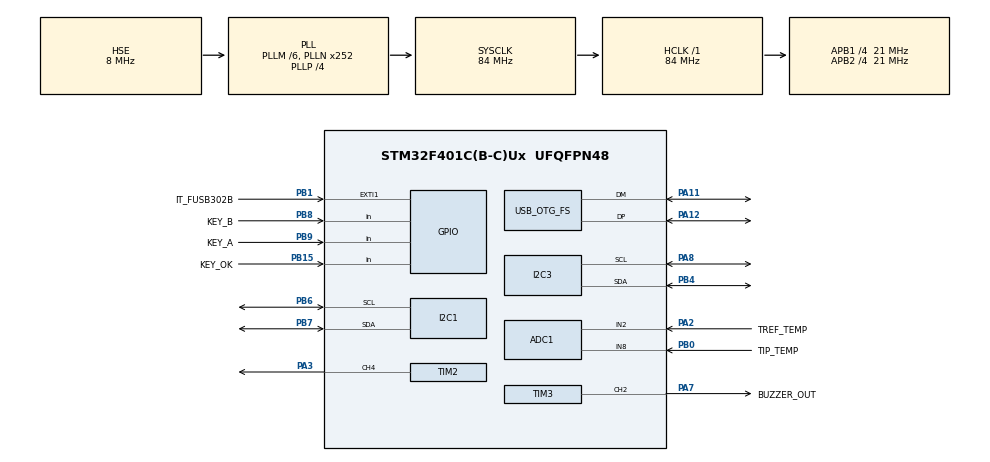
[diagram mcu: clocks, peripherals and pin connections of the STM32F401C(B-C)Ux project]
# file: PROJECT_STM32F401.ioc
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ADC1.Channel-0\#ChannelRegularConversion=ADC_CHANNEL_2
ADC1.Channel-1\#ChannelInjectedConversion=ADC_CHANNEL_8
ADC1.Channel-2\#ChannelInjectedConversion=ADC_CHANNEL_8
ADC1.Channel-3\#ChannelInjectedConversion=ADC_CHANNEL_8
ADC1.Channel-4\#ChannelInjectedConversion=ADC_CHANNEL_8
ADC1.ContinuousConvMode=ENABLE
ADC1.DMAContinuousRequests=ENABLE
ADC1.ExternalTrigInjecConv=ADC_EXTERNALTRIGINJECCONV_T1_CC4
ADC1.InjNumberOfConversion=4
ADC1.InjectedOffset-1\#ChannelInjectedConversion=0
ADC1.InjectedOffset-2\#ChannelInjectedConversion=0
ADC1.InjectedOffset-3\#ChannelInjectedConversion=0
ADC1.InjectedOffset-4\#ChannelInjectedConversion=0
ADC1.InjectedRank-1\#ChannelInjectedConversion=1
ADC1.InjectedRank-2\#ChannelInjectedConversion=2
ADC1.InjectedRank-3\#ChannelInjectedConversion=3
ADC1.InjectedRank-4\#ChannelInjectedConversion=4
ADC1.NbrOfConversion=1
ADC1.NbrOfConversionFlag=1
ADC1.Rank-0\#ChannelRegularConversion=1
ADC1.SamplingTime-0\#ChannelRegularConversion=ADC_SAMPLETIME_84CYCLES
ADC1.SamplingTime-1\#ChannelInjectedConversion=ADC_SAMPLETIME_3CYCLES
ADC1.SamplingTime-2\#ChannelInjectedConversion=ADC_SAMPLETIME_3CYCLES
ADC1.SamplingTime-3\#ChannelInjectedConversion=ADC_SAMPLETIME_3CYCLES
ADC1.SamplingTime-4\#ChannelInjectedConversion=ADC_SAMPLETIME_3CYCLES
ADC1.master=1
Dma.ADC1.0.Direction=DMA_PERIPH_TO_MEMORY
Dma.ADC1.0.FIFOMode=DMA_FIFOMODE_DISABLE
Dma.ADC1.0.Instance=DMA2_Stream0
Dma.ADC1.0.MemDataAlignment=DMA_MDATAALIGN_HALFWORD
Dma.ADC1.0.MemInc=DMA_MINC_ENABLE
Dma.ADC1.0.Mode=DMA_CIRCULAR
Dma.ADC1.0.PeriphDataAlignment=DMA_PDATAALIGN_HALFWORD
Dma.ADC1.0.PeriphInc=DMA_PINC_DISABLE
Dma.ADC1.0.Priority=DMA_PRIORITY_VERY_HIGH
Dma.I2C1_RX.1.Direction=DMA_PERIPH_TO_MEMORY
Dma.I2C1_RX.1.FIFOMode=DMA_FIFOMODE_DISABLE
Dma.I2C1_RX.1.Instance=DMA1_Stream0
Dma.I2C1_RX.1.MemDataAlignment=DMA_MDATAALIGN_BYTE
Dma.I2C1_RX.1.MemInc=DMA_MINC_ENABLE
Dma.I2C1_RX.1.Mode=DMA_NORMAL
Dma.I2C1_RX.1.PeriphDataAlignment=DMA_PDATAALIGN_BYTE
Dma.I2C1_RX.1.PeriphInc=DMA_PINC_DISABLE
Dma.I2C1_RX.1.Priority=DMA_PRIORITY_LOW
Dma.I2C1_TX.2.Direction=DMA_MEMORY_TO_PERIPH
Dma.I2C1_TX.2.FIFOMode=DMA_FIFOMODE_DISABLE
Dma.I2C1_TX.2.Instance=DMA1_Stream6
Dma.I2C1_TX.2.MemDataAlignment=DMA_MDATAALIGN_BYTE
Dma.I2C1_TX.2.MemInc=DMA_MINC_ENABLE
Dma.I2C1_TX.2.Mode=DMA_NORMAL
Dma.I2C1_TX.2.PeriphDataAlignment=DMA_PDATAALIGN_BYTE
Dma.I2C1_TX.2.PeriphInc=DMA_PINC_DISABLE
Dma.I2C1_TX.2.Priority=DMA_PRIORITY_MEDIUM
Dma.Request0=ADC1
Dma.Request1=I2C1_RX
Dma.Request2=I2C1_TX
FREERTOS.INCLUDE_uxTaskGetStackHighWaterMark=1
FREERTOS.MEMORY_ALLOCATION=1
FREERTOS.Tasks01=PIDTask,3,256,StartPIDTask,Default,NULL,Static,PIDTaskBuffer,PIDTaskControlBlock;MOVTask,1,128,StartMOVTask,Default,NULL,Static,MOVTaskBuffer,MOVTaskControlBlock;POWTask,0,256,StartPOWTask,Default,NULL,Static,POWTaskBuffer,POWTaskControlBlock;GUITask,-1,512,StartGUITask,Default,NULL,Static,GUITaskBuffer,GUITaskControlBlock
FREERTOS.configCHECK_FOR_STACK_OVERFLOW=2
FREERTOS.configMAX_TASK_NAME_LEN=32
FREERTOS.configMINIMAL_STACK_SIZE=64
I2C1.I2C_Mode=I2C_Fast
I2C3.I2C_Mode=I2C_Fast
IWDG.Prescaler=IWDG_PRESCALER_256
IWDG.Reload=100
Mcu.Family=STM32F4
Mcu.Name=STM32F401C(B-C)Ux
Mcu.Package=UFQFPN48
Mcu.UserConstants=SCL1_GPIO_Port,GPIOB;TIM1_PSC_SLOW_PWM,29680;BUZZER_CHANNEL,TIM_CHANNEL_2;SCL3_Pin,GPIO_PIN_8;SDA1_Pin,GPIO_PIN_7;SDA3_GPIO_Port,GPIOB;TREF_TEMP_ADC1_CHANNEL,ADC_CHANNEL_2;TIM1_PSC_FAST_PWM,14840;TEMP_TEMP_ADC1_CHANNEL,ADC_CHANNEL_8;SDA1_GPIO_Port,GPIOB;SDA3_Pin,GPIO_PIN_4;SCL1_Pin,GPIO_PIN_6;SCL3_GPIO_Port,GPIOA
NVIC.ADC_IRQn=true\:15\:0\:true\:false\:true\:false\:true\:true
NVIC.DMA1_Stream0_IRQn=true\:5\:0\:true\:false\:true\:false\:false\:true
NVIC.DMA1_Stream6_IRQn=true\:5\:0\:true\:false\:true\:false\:false\:true
NVIC.DMA2_Stream0_IRQn=true\:5\:0\:true\:false\:true\:false\:false\:true
NVIC.EXTI1_IRQn=true\:10\:0\:true\:false\:true\:false\:true\:true
NVIC.I2C1_ER_IRQn=true\:15\:0\:true\:false\:true\:false\:true\:true
NVIC.I2C1_EV_IRQn=true\:15\:0\:true\:false\:true\:false\:true\:true
NVIC.I2C3_ER_IRQn=true\:15\:0\:true\:false\:true\:false\:true\:true
NVIC.I2C3_EV_IRQn=true\:15\:0\:true\:false\:true\:false\:true\:true
NVIC.OTG_FS_IRQn=true\:5\:0\:true\:false\:true\:false\:true\:true
NVIC.PriorityGroup=NVIC_PRIORITYGROUP_4
NVIC.TIM1_CC_IRQn=true\:15\:0\:true\:false\:true\:false\:true\:true
NVIC.TIM1_UP_TIM10_IRQn=true\:15\:0\:true\:false\:true\:false\:true\:true
NVIC.TIM3_IRQn=true\:15\:0\:true\:false\:true\:false\:true\:true
NVIC.TIM4_IRQn=true\:0\:0\:false\:false\:true\:false\:false\:true
NVIC.TimeBase=TIM4_IRQn
NVIC.TimeBaseIP=TIM4
PA11.Mode=Device_Only
PA11.Signal=USB_OTG_FS_DM
PA12.Mode=Device_Only
PA12.Signal=USB_OTG_FS_DP
PA13.Mode=Trace_Asynchronous_SW
PA13.Signal=SYS_JTMS-SWDIO
PA14.Mode=Trace_Asynchronous_SW
PA14.Signal=SYS_JTCK-SWCLK
PA2.GPIO_Label=TREF_TEMP
PA2.Signal=ADCx_IN2
PA3.Signal=S_TIM2_CH4
PA7.GPIO_Label=BUZZER_OUT
PA7.GPIO_PuPd=GPIO_NOPULL
PA7.GPIO_Speed=GPIO_SPEED_FREQ_HIGH
PA7.Signal=S_TIM3_CH2
PA8.GPIO_Pu=GPIO_PULLUP
PA8.Mode=I2C
PA8.Signal=I2C3_SCL
PB0.GPIO_Label=TIP_TEMP
PB0.Signal=ADCx_IN8
PB1.GPIO_Label=IT_FUSB302B
PB1.GPIO_PuPd=GPIO_PULLUP
PB1.Signal=GPXTI1
PB15.GPIO_Label=KEY_OK
PB15.GPIO_PuPd=GPIO_PULLUP
PB15.Signal=GPIO_Input
PB3.Mode=Trace_Asynchronous_SW
PB3.Signal=SYS_JTDO-SWO
PB4.GPIO_Pu=GPIO_PULLUP
PB4.Mode=I2C
PB4.Signal=I2C3_SDA
PB6.GPIO_Pu=GPIO_PULLUP
PB6.Mode=I2C
PB6.Signal=I2C1_SCL
PB7.GPIO_Pu=GPIO_PULLUP
PB7.Mode=I2C
PB7.Signal=I2C1_SDA
PB8.GPIO_Label=KEY_B
PB8.Signal=GPIO_Input
PB9.GPIO_Label=KEY_A
PB9.GPIO_PuPd=GPIO_PULLUP
PB9.Signal=GPIO_Input
PH0\ -\ OSC_IN.Mode=HSE-External-Oscillator
PH0\ -\ OSC_IN.Signal=RCC_OSC_IN
PH1\ -\ OSC_OUT.Mode=HSE-External-Oscillator
PH1\ -\ OSC_OUT.Signal=RCC_OSC_OUT
ProjectManager.HeapSize=0x1200
ProjectManager.StackSize=0x1200
ProjectManager.TargetToolchain=STM32CubeIDE
RCC.48MHZClocksFreq_Value=48000000
RCC.AHBFreq_Value=84000000
RCC.APB1CLKDivider=RCC_HCLK_DIV4
RCC.APB1Freq_Value=21000000
RCC.APB1TimFreq_Value=42000000
RCC.APB2CLKDivider=RCC_HCLK_DIV4
RCC.APB2Freq_Value=21000000
RCC.APB2TimFreq_Value=42000000
RCC.CortexFreq_Value=84000000
RCC.HCLKFreq_Value=84000000
RCC.HSE_VALUE=8000000
RCC.HSI_VALUE=16000000
RCC.LSE_VALUE=32768
RCC.PLLM=6
RCC.PLLN=252
RCC.PLLP=RCC_PLLP_DIV4
RCC.PLLQ=7
RCC.SYSCLKFreq_VALUE=84000000
RCC.SYSCLKSource=RCC_SYSCLKSOURCE_PLLCLK
RCC.VCOOutputFreq_Value=336000000
SH.ADCx_IN2.0=ADC1_IN2,IN2
SH.ADCx_IN8.0=ADC1_IN8,IN8
SH.S_TIM2_CH4.0=TIM2_CH4,PWM Generation4 CH4
SH.S_TIM3_CH2.0=TIM3_CH2,PWM Generation2 CH2
TIM1.Channel-PWM\ Generation1\ No\ Output=TIM_CHANNEL_1
TIM1.Channel-PWM\ Generation4\ No\ Output=TIM_CHANNEL_4
TIM1.ClockDivision=TIM_CLOCKDIVISION_DIV4
TIM1.OCFastMode_PWM-PWM\ Generation1\ No\ Output=TIM_OCFAST_ENABLE
TIM1.OCFastMode_PWM-PWM\ Generation4\ No\ Output=TIM_OCFAST_ENABLE
TIM1.OCPolarity_1=TIM_OCPOLARITY_LOW
TIM1.Period=255+14*2
TIM1.Prescaler=10599
TIM1.Pulse-PWM\ Generation4\ No\ Output=255+14
TIM2.AutoReloadPreload=TIM_AUTORELOAD_PRELOAD_ENABLE
TIM2.Channel-PWM\ Generation4\ CH4=TIM_CHANNEL_4
TIM2.ClockDivision=TIM_CLOCKDIVISION_DIV4
TIM2.OCFastMode_PWM-PWM\ Generation4\ CH4=TIM_OCFAST_ENABLE
TIM2.Period=99
TIM2.Prescaler=41
TIM2.Pulse-PWM\ Generation4\ CH4=50
TIM3.Channel-PWM\ Generation2\ CH2=TIM_CHANNEL_2
TIM3.OCPolarity_2=TIM_OCPOLARITY_LOW
TIM3.Period=255
TIM3.Prescaler=41
USB_DEVICE.CLASS_NAME_FS=CDC
USB_DEVICE.USBD_MAX_STR_DESC_SIZ=1021
USB_DEVICE.VirtualMode=Cdc
USB_DEVICE.VirtualModeFS=Cdc_FS
USB_OTG_FS.VirtualMode=Device_Only
VP_ADC1_TempSens_Input.Mode=IN-TempSens
VP_FREERTOS_VS_CMSIS_V1.Mode=CMSIS_V1
VP_IWDG_VS_IWDG.Mode=IWDG_Activate
VP_SYS_VS_tim4.Mode=TIM4
VP_TIM1_VS_no_output1.Mode=PWM Generation1 No Output
VP_TIM1_VS_no_output4.Mode=PWM Generation4 No Output
VP_USB_DEVICE_VS_USB_DEVICE_CDC_FS.Mode=CDC_FS
board=custom

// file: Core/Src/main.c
/* USER CODE BEGIN Header */
/**
  ******************************************************************************
  * @file           : main.c
  * @brief          : Main program body
  ******************************************************************************
  * @attention
  *
  * <h2><center>&copy; Copyright (c) 2021 STMicroelectronics.
  * All rights reserved.</center></h2>
  *
  * This software component is licensed by ST under BSD 3-Clause license,
  * the "License"; You may not use this file except in compliance with the
  * License. You may obtain a copy of the License at:
  *                        opensource.org/licenses/BSD-3-Clause
  *
  ******************************************************************************
  */
/* USER CODE END Header */
#include "main.h"
#include "cmsis_os.h"
#include "usb_device.h"
#include "usb_device.h"

/* USER CODE BEGIN Includes */
#include "usbd_cdc_if.h"
#include "BSP.h"
#include "LIS3DH.hpp"
#include "Settings.h"
#include "power.hpp"
#include "Setup.h"
#include "Translation.h"
#include "Threads.hpp"
/* USER CODE END Includes */

ADC_HandleTypeDef hadc1;
DMA_HandleTypeDef hdma_adc1;

I2C_HandleTypeDef hi2c1;
I2C_HandleTypeDef hi2c3;
DMA_HandleTypeDef hdma_i2c1_rx;
DMA_HandleTypeDef hdma_i2c1_tx;

IWDG_HandleTypeDef hiwdg;

TIM_HandleTypeDef htim1;
TIM_HandleTypeDef htim2;
TIM_HandleTypeDef htim3;

osThreadId PIDTaskHandle;
uint32_t PIDTaskBuffer[ 256 ];
osStaticThreadDef_t PIDTaskControlBlock;
osThreadId MOVTaskHandle;
uint32_t MOVTaskBuffer[ 128 ];
osStaticThreadDef_t MOVTaskControlBlock;
osThreadId POWTaskHandle;
uint32_t POWTaskBuffer[ 256 ];
osStaticThreadDef_t POWTaskControlBlock;
osThreadId GUITaskHandle;
uint32_t GUITaskBuffer[ 512 ];
osStaticThreadDef_t GUITaskControlBlock;
/* USER CODE BEGIN PV */
bool    settingsWereReset            = false;
uint16_t GUITask_stacksize = 0;
uint16_t PIDTask_stacksize = 0;
uint16_t MOVTask_stacksize = 0;
uint16_t POWTask_stacksize = 0;
/* USER CODE END PV */

void SystemClock_Config(void);
static void MX_GPIO_Init(void);
static void MX_DMA_Init(void);
static void MX_ADC1_Init(void);
static void MX_I2C1_Init(void);
static void MX_I2C3_Init(void);
static void MX_TIM1_Init(void);
static void MX_IWDG_Init(void);
static void MX_TIM2_Init(void);
static void MX_TIM3_Init(void);
void StartPIDTask(void const * argument);
void StartMOVTask(void const * argument);
void StartPOWTask(void const * argument);
void StartGUITask(void const * argument);

int main(void)
{

  /* MCU Configuration--------------------------------------------------------*/

  /* Reset of all peripherals, Initializes the Flash interface and the Systick. */
  HAL_Init();

  /* Configure the system clock */
  SystemClock_Config();

  /* USER CODE BEGIN SysInit */
  //__HAL_RCC_I2C3_CLK_ENABLE();
  //__HAL_RCC_I2C1_CLK_ENABLE();

  //USB_Status_Init();	//不需要，DFU已经执行过一�???????

  /* USER CODE END SysInit */

  /* Initialize all configured peripherals */
  MX_GPIO_Init();
  MX_DMA_Init();
  MX_ADC1_Init();
  MX_I2C1_Init();
  MX_I2C3_Init();
  MX_TIM1_Init();
  MX_IWDG_Init();
  MX_TIM2_Init();
  MX_TIM3_Init();
  /* USER CODE BEGIN 2 */

  MX_USB_DEVICE_Init();
  resetWatchdog();

  preRToSInit();		// 初始化i2c实例

  HAL_ADC_Start(&hadc1);
  //注意，半字节模式DMA传输的数据是32
  HAL_ADC_Start_DMA(&hadc1, ADCReadings, (ADC_SAMPLES * ADC_CHANNELS));	//ADC handle of ADC master (handle of ADC slave must not be used)
  HAL_ADCEx_InjectedStart(&hadc1);       // enable injected readings
  HAL_ADCEx_InjectedStart_IT(&hadc1);
  resetWatchdog();
  /* USER CODE END 2 */

  /* Create the thread(s) */
  /* definition and creation of PIDTask */
  osThreadStaticDef(PIDTask, StartPIDTask, osPriorityRealtime, 0, 256, PIDTaskBuffer, &PIDTaskControlBlock);
  PIDTaskHandle = osThreadCreate(osThread(PIDTask), NULL);

  /* definition and creation of MOVTask */
  osThreadStaticDef(MOVTask, StartMOVTask, osPriorityAboveNormal, 0, 128, MOVTaskBuffer, &MOVTaskControlBlock);
  MOVTaskHandle = osThreadCreate(osThread(MOVTask), NULL);

  /* definition and creation of POWTask */
  osThreadStaticDef(POWTask, StartPOWTask, osPriorityNormal, 0, 256, POWTaskBuffer, &POWTaskControlBlock);
  POWTaskHandle = osThreadCreate(osThread(POWTask), NULL);

  /* definition and creation of GUITask */
  osThreadStaticDef(GUITask, StartGUITask, osPriorityBelowNormal, 0, 512, GUITaskBuffer, &GUITaskControlBlock);
  GUITaskHandle = osThreadCreate(osThread(GUITask), NULL);

  /* USER CODE BEGIN RTOS_THREADS */
	GUITask_stacksize = os_thread_def_GUITask.stacksize;
	PIDTask_stacksize = os_thread_def_PIDTask.stacksize;
	MOVTask_stacksize = os_thread_def_MOVTask.stacksize;
	POWTask_stacksize = os_thread_def_POWTask.stacksize;
	resetWatchdog();
  /* add threads, ... */
  /* USER CODE END RTOS_THREADS */

  /* Start scheduler */
  osKernelStart();

  /* We should never get here as control is now taken by the scheduler */
  /* Infinite loop */
  while (1)
  {

  }
}

void SystemClock_Config(void)
{
  RCC_OscInitTypeDef RCC_OscInitStruct = {0};
  RCC_ClkInitTypeDef RCC_ClkInitStruct = {0};

  /** Configure the main internal regulator output voltage
  */
  __HAL_RCC_PWR_CLK_ENABLE();
  __HAL_PWR_VOLTAGESCALING_CONFIG(PWR_REGULATOR_VOLTAGE_SCALE2);
  /** Initializes the RCC Oscillators according to the specified parameters
  * in the RCC_OscInitTypeDef structure.
  */
  RCC_OscInitStruct.OscillatorType = RCC_OSCILLATORTYPE_LSI|RCC_OSCILLATORTYPE_HSE;
  RCC_OscInitStruct.HSEState = RCC_HSE_ON;
  RCC_OscInitStruct.LSIState = RCC_LSI_ON;
  RCC_OscInitStruct.PLL.PLLState = RCC_PLL_ON;
  RCC_OscInitStruct.PLL.PLLSource = RCC_PLLSOURCE_HSE;
  RCC_OscInitStruct.PLL.PLLM = 6;
  RCC_OscInitStruct.PLL.PLLN = 252;
  RCC_OscInitStruct.PLL.PLLP = RCC_PLLP_DIV4;
  RCC_OscInitStruct.PLL.PLLQ = 7;
  if (HAL_RCC_OscConfig(&RCC_OscInitStruct) != HAL_OK)
  {
    Error_Handler();
  }
  /** Initializes the CPU, AHB and APB buses clocks
  */
  RCC_ClkInitStruct.ClockType = RCC_CLOCKTYPE_HCLK|RCC_CLOCKTYPE_SYSCLK
                              |RCC_CLOCKTYPE_PCLK1|RCC_CLOCKTYPE_PCLK2;
  RCC_ClkInitStruct.SYSCLKSource = RCC_SYSCLKSOURCE_PLLCLK;
  RCC_ClkInitStruct.AHBCLKDivider = RCC_SYSCLK_DIV1;
  RCC_ClkInitStruct.APB1CLKDivider = RCC_HCLK_DIV4;
  RCC_ClkInitStruct.APB2CLKDivider = RCC_HCLK_DIV4;

  if (HAL_RCC_ClockConfig(&RCC_ClkInitStruct, FLASH_LATENCY_2) != HAL_OK)
  {
    Error_Handler();
  }
}

static void MX_ADC1_Init(void)
{

  ADC_ChannelConfTypeDef sConfig = {0};
  ADC_InjectionConfTypeDef sConfigInjected = {0};

  /** Configure the global features of the ADC (Clock, Resolution, Data Alignment and number of conversion)
  */
  hadc1.Instance = ADC1;
  hadc1.Init.ClockPrescaler = ADC_CLOCK_SYNC_PCLK_DIV2;
  hadc1.Init.Resolution = ADC_RESOLUTION_12B;
  hadc1.Init.ScanConvMode = ENABLE;
  hadc1.Init.ContinuousConvMode = ENABLE;
  hadc1.Init.DiscontinuousConvMode = DISABLE;
  hadc1.Init.ExternalTrigConvEdge = ADC_EXTERNALTRIGCONVEDGE_NONE;
  hadc1.Init.ExternalTrigConv = ADC_SOFTWARE_START;
  hadc1.Init.DataAlign = ADC_DATAALIGN_RIGHT;
  hadc1.Init.NbrOfConversion = 1;
  hadc1.Init.DMAContinuousRequests = ENABLE;
  hadc1.Init.EOCSelection = ADC_EOC_SINGLE_CONV;
  if (HAL_ADC_Init(&hadc1) != HAL_OK)
  {
    Error_Handler();
  }
  /** Configure for the selected ADC regular channel its corresponding rank in the sequencer and its sample time.
  */
  sConfig.Channel = ADC_CHANNEL_2;
  sConfig.Rank = 1;
  sConfig.SamplingTime = ADC_SAMPLETIME_84CYCLES;
  if (HAL_ADC_ConfigChannel(&hadc1, &sConfig) != HAL_OK)
  {
    Error_Handler();
  }
  /** Configures for the selected ADC injected channel its corresponding rank in the sequencer and its sample time
  */
  sConfigInjected.InjectedChannel = ADC_CHANNEL_8;
  sConfigInjected.InjectedRank = 1;
  sConfigInjected.InjectedNbrOfConversion = 4;
  sConfigInjected.InjectedSamplingTime = ADC_SAMPLETIME_3CYCLES;
  sConfigInjected.ExternalTrigInjecConvEdge = ADC_EXTERNALTRIGINJECCONVEDGE_RISING;
  sConfigInjected.ExternalTrigInjecConv = ADC_EXTERNALTRIGINJECCONV_T1_CC4;
  sConfigInjected.AutoInjectedConv = DISABLE;
  sConfigInjected.InjectedDiscontinuousConvMode = DISABLE;
  sConfigInjected.InjectedOffset = 0;
  if (HAL_ADCEx_InjectedConfigChannel(&hadc1, &sConfigInjected) != HAL_OK)
  {
    Error_Handler();
  }
  /** Configures for the selected ADC injected channel its corresponding rank in the sequencer and its sample time
  */
  sConfigInjected.InjectedRank = 2;
  if (HAL_ADCEx_InjectedConfigChannel(&hadc1, &sConfigInjected) != HAL_OK)
  {
    Error_Handler();
  }
  /** Configures for the selected ADC injected channel its corresponding rank in the sequencer and its sample time
  */
  sConfigInjected.InjectedRank = 3;
  if (HAL_ADCEx_InjectedConfigChannel(&hadc1, &sConfigInjected) != HAL_OK)
  {
    Error_Handler();
  }
  /** Configures for the selected ADC injected channel its corresponding rank in the sequencer and its sample time
  */
  sConfigInjected.InjectedRank = 4;
  if (HAL_ADCEx_InjectedConfigChannel(&hadc1, &sConfigInjected) != HAL_OK)
  {
    Error_Handler();
  }

}

static void MX_I2C1_Init(void)
{

  hi2c1.Instance = I2C1;
  hi2c1.Init.ClockSpeed = 400000;
  hi2c1.Init.DutyCycle = I2C_DUTYCYCLE_2;
  hi2c1.Init.OwnAddress1 = 0;
  hi2c1.Init.AddressingMode = I2C_ADDRESSINGMODE_7BIT;
  hi2c1.Init.DualAddressMode = I2C_DUALADDRESS_DISABLE;
  hi2c1.Init.OwnAddress2 = 0;
  hi2c1.Init.GeneralCallMode = I2C_GENERALCALL_DISABLE;
  hi2c1.Init.NoStretchMode = I2C_NOSTRETCH_DISABLE;
  if (HAL_I2C_Init(&hi2c1) != HAL_OK)
  {
    Error_Handler();
  }

}

static void MX_I2C3_Init(void)
{

  hi2c3.Instance = I2C3;
  hi2c3.Init.ClockSpeed = 400000;
  hi2c3.Init.DutyCycle = I2C_DUTYCYCLE_2;
  hi2c3.Init.OwnAddress1 = 0;
  hi2c3.Init.AddressingMode = I2C_ADDRESSINGMODE_7BIT;
  hi2c3.Init.DualAddressMode = I2C_DUALADDRESS_DISABLE;
  hi2c3.Init.OwnAddress2 = 0;
  hi2c3.Init.GeneralCallMode = I2C_GENERALCALL_DISABLE;
  hi2c3.Init.NoStretchMode = I2C_NOSTRETCH_DISABLE;
  if (HAL_I2C_Init(&hi2c3) != HAL_OK)
  {
    Error_Handler();
  }

}

static void MX_IWDG_Init(void)
{

  hiwdg.Instance = IWDG;
  hiwdg.Init.Prescaler = IWDG_PRESCALER_256;
  hiwdg.Init.Reload = 100;
  if (HAL_IWDG_Init(&hiwdg) != HAL_OK)
  {
    Error_Handler();
  }

}

static void MX_TIM1_Init(void)
{

  TIM_MasterConfigTypeDef sMasterConfig = {0};
  TIM_OC_InitTypeDef sConfigOC = {0};
  TIM_BreakDeadTimeConfigTypeDef sBreakDeadTimeConfig = {0};

  /* USER CODE BEGIN TIM1_Init 1 */
  //
  /* USER CODE END TIM1_Init 1 */
  htim1.Instance = TIM1;
  htim1.Init.Prescaler = 10599;
  htim1.Init.CounterMode = TIM_COUNTERMODE_UP;
  htim1.Init.Period = 255+14*2;
  htim1.Init.ClockDivision = TIM_CLOCKDIVISION_DIV4;
  htim1.Init.RepetitionCounter = 0;
  htim1.Init.AutoReloadPreload = TIM_AUTORELOAD_PRELOAD_DISABLE;
  if (HAL_TIM_PWM_Init(&htim1) != HAL_OK)
  {
    Error_Handler();
  }
  sMasterConfig.MasterOutputTrigger = TIM_TRGO_RESET;
  sMasterConfig.MasterSlaveMode = TIM_MASTERSLAVEMODE_DISABLE;
  if (HAL_TIMEx_MasterConfigSynchronization(&htim1, &sMasterConfig) != HAL_OK)
  {
    Error_Handler();
  }
  sConfigOC.OCMode = TIM_OCMODE_PWM1;
  sConfigOC.Pulse = 0;
  sConfigOC.OCPolarity = TIM_OCPOLARITY_LOW;
  sConfigOC.OCNPolarity = TIM_OCNPOLARITY_HIGH;
  sConfigOC.OCFastMode = TIM_OCFAST_ENABLE;
  sConfigOC.OCIdleState = TIM_OCIDLESTATE_RESET;
  sConfigOC.OCNIdleState = TIM_OCNIDLESTATE_RESET;
  if (HAL_TIM_PWM_ConfigChannel(&htim1, &sConfigOC, TIM_CHANNEL_1) != HAL_OK)
  {
    Error_Handler();
  }
  sConfigOC.Pulse = 255+14;
  sConfigOC.OCPolarity = TIM_OCPOLARITY_HIGH;
  if (HAL_TIM_PWM_ConfigChannel(&htim1, &sConfigOC, TIM_CHANNEL_4) != HAL_OK)
  {
    Error_Handler();
  }
  sBreakDeadTimeConfig.OffStateRunMode = TIM_OSSR_DISABLE;
  sBreakDeadTimeConfig.OffStateIDLEMode = TIM_OSSI_DISABLE;
  sBreakDeadTimeConfig.LockLevel = TIM_LOCKLEVEL_OFF;
  sBreakDeadTimeConfig.DeadTime = 0;
  sBreakDeadTimeConfig.BreakState = TIM_BREAK_DISABLE;
  sBreakDeadTimeConfig.BreakPolarity = TIM_BREAKPOLARITY_HIGH;
  sBreakDeadTimeConfig.AutomaticOutput = TIM_AUTOMATICOUTPUT_DISABLE;
  if (HAL_TIMEx_ConfigBreakDeadTime(&htim1, &sBreakDeadTimeConfig) != HAL_OK)
  {
    Error_Handler();
  }
  /* USER CODE BEGIN TIM1_Init 2 */
  HAL_TIM_PWM_Start(&htim1, TIM_CHANNEL_4);	//ADC
  HAL_TIM_PWM_Start_IT(&htim1, TIM_CHANNEL_1);	//
  HAL_TIM_Base_Start_IT(&htim1);
  /* USER CODE END TIM1_Init 2 */

}

static void MX_TIM2_Init(void)
{

  TIM_MasterConfigTypeDef sMasterConfig = {0};
  TIM_OC_InitTypeDef sConfigOC = {0};

  htim2.Instance = TIM2;
  htim2.Init.Prescaler = 41;
  htim2.Init.CounterMode = TIM_COUNTERMODE_UP;
  htim2.Init.Period = 99;
  htim2.Init.ClockDivision = TIM_CLOCKDIVISION_DIV4;
  htim2.Init.AutoReloadPreload = TIM_AUTORELOAD_PRELOAD_ENABLE;
  if (HAL_TIM_PWM_Init(&htim2) != HAL_OK)
  {
    Error_Handler();
  }
  sMasterConfig.MasterOutputTrigger = TIM_TRGO_RESET;
  sMasterConfig.MasterSlaveMode = TIM_MASTERSLAVEMODE_DISABLE;
  if (HAL_TIMEx_MasterConfigSynchronization(&htim2, &sMasterConfig) != HAL_OK)
  {
    Error_Handler();
  }
  sConfigOC.OCMode = TIM_OCMODE_PWM1;
  sConfigOC.Pulse = 50;
  sConfigOC.OCPolarity = TIM_OCPOLARITY_HIGH;
  sConfigOC.OCFastMode = TIM_OCFAST_ENABLE;
  if (HAL_TIM_PWM_ConfigChannel(&htim2, &sConfigOC, TIM_CHANNEL_4) != HAL_OK)
  {
    Error_Handler();
  }
  HAL_TIM_MspPostInit(&htim2);

}

static void MX_TIM3_Init(void)
{

  TIM_MasterConfigTypeDef sMasterConfig = {0};
  TIM_OC_InitTypeDef sConfigOC = {0};

  htim3.Instance = TIM3;
  htim3.Init.Prescaler = 41;
  htim3.Init.CounterMode = TIM_COUNTERMODE_UP;
  htim3.Init.Period = 255;
  htim3.Init.ClockDivision = TIM_CLOCKDIVISION_DIV1;
  htim3.Init.AutoReloadPreload = TIM_AUTORELOAD_PRELOAD_DISABLE;
  if (HAL_TIM_PWM_Init(&htim3) != HAL_OK)
  {
    Error_Handler();
  }
  sMasterConfig.MasterOutputTrigger = TIM_TRGO_RESET;
  sMasterConfig.MasterSlaveMode = TIM_MASTERSLAVEMODE_DISABLE;
  if (HAL_TIMEx_MasterConfigSynchronization(&htim3, &sMasterConfig) != HAL_OK)
  {
    Error_Handler();
  }
  sConfigOC.OCMode = TIM_OCMODE_PWM1;
  sConfigOC.Pulse = 0;
  sConfigOC.OCPolarity = TIM_OCPOLARITY_LOW;
  sConfigOC.OCFastMode = TIM_OCFAST_DISABLE;
  if (HAL_TIM_PWM_ConfigChannel(&htim3, &sConfigOC, TIM_CHANNEL_2) != HAL_OK)
  {
    Error_Handler();
  }
  HAL_TIM_MspPostInit(&htim3);

}

static void MX_DMA_Init(void)
{

  /* DMA controller clock enable */
  __HAL_RCC_DMA2_CLK_ENABLE();
  __HAL_RCC_DMA1_CLK_ENABLE();

  /* DMA interrupt init */
  /* DMA1_Stream0_IRQn interrupt configuration */
  HAL_NVIC_SetPriority(DMA1_Stream0_IRQn, 5, 0);
  HAL_NVIC_EnableIRQ(DMA1_Stream0_IRQn);
  /* DMA1_Stream6_IRQn interrupt configuration */
  HAL_NVIC_SetPriority(DMA1_Stream6_IRQn, 5, 0);
  HAL_NVIC_EnableIRQ(DMA1_Stream6_IRQn);
  /* DMA2_Stream0_IRQn interrupt configuration */
  HAL_NVIC_SetPriority(DMA2_Stream0_IRQn, 5, 0);
  HAL_NVIC_EnableIRQ(DMA2_Stream0_IRQn);

}

static void MX_GPIO_Init(void)
{
  GPIO_InitTypeDef GPIO_InitStruct = {0};

  /* GPIO Ports Clock Enable */
  __HAL_RCC_GPIOH_CLK_ENABLE();
  __HAL_RCC_GPIOA_CLK_ENABLE();
  __HAL_RCC_GPIOB_CLK_ENABLE();

  /*Configure GPIO pin : IT_FUSB302B_Pin */
  GPIO_InitStruct.Pin = IT_FUSB302B_Pin;
  GPIO_InitStruct.Mode = GPIO_MODE_IT_RISING;
  GPIO_InitStruct.Pull = GPIO_PULLUP;
  HAL_GPIO_Init(IT_FUSB302B_GPIO_Port, &GPIO_InitStruct);

  /*Configure GPIO pins : KEY_OK_Pin KEY_A_Pin */
  GPIO_InitStruct.Pin = KEY_OK_Pin|KEY_A_Pin;
  GPIO_InitStruct.Mode = GPIO_MODE_INPUT;
  GPIO_InitStruct.Pull = GPIO_PULLUP;
  HAL_GPIO_Init(GPIOB, &GPIO_InitStruct);

  /*Configure GPIO pin : KEY_B_Pin */
  GPIO_InitStruct.Pin = KEY_B_Pin;
  GPIO_InitStruct.Mode = GPIO_MODE_INPUT;
  GPIO_InitStruct.Pull = GPIO_NOPULL;
  HAL_GPIO_Init(KEY_B_GPIO_Port, &GPIO_InitStruct);

  /* EXTI interrupt init*/
  HAL_NVIC_SetPriority(EXTI1_IRQn, 10, 0);
  HAL_NVIC_EnableIRQ(EXTI1_IRQn);

}

void StartPIDTask(void const * argument)
{
  /* init code for USB_DEVICE */
  MX_USB_DEVICE_Init();
  /* USER CODE BEGIN 5 */
  doPIDTask();
  /* Infinite loop */
  for(;;)
  {
    osDelay(1);
  }
  /* USER CODE END 5 */
}

void StartMOVTask(void const * argument)
{
  /* USER CODE BEGIN StartMOVTask */
  doMOVTask();
  /* Infinite loop */
  for(;;)
  {
    osDelay(1);
  }
  /* USER CODE END StartMOVTask */
}

void StartPOWTask(void const * argument)
{
  /* USER CODE BEGIN StartPOWTask */
	doPOWTask();
  /* Infinite loop */
  for(;;)
  {
    osDelay(1);
  }
  /* USER CODE END StartPOWTask */
}

void StartGUITask(void const * argument)
{
  /* USER CODE BEGIN StartGUITask */
	doGUITask();
  /* Infinite loop */
  for(;;)
  {
    osDelay(1);
  }
  /* USER CODE END StartGUITask */
}

void HAL_TIM_PeriodElapsedCallback(TIM_HandleTypeDef *htim)
{
  /* USER CODE BEGIN Callback 0 */
	if (htim->Instance == TIM1) {
		//static uint32_t cnt_CC1 = 0;
#if 0
		usb_printf(
				"Ela TIM3:%d ARR= %d PSC= %d CCR1=%d CCR4=%d\r\n",
				cnt_CC1++, htim->Instance->ARR, htim->Instance->PSC,
				htim->Instance->CCR1, htim->Instance->CCR4);
#endif
		// we want to turn on the output again
		PWMSafetyTimer--;
		// We decrement this safety value so that lockups in the
		// scheduler will not cause the PWM to become locked in an
		// active driving state.
		// While we could assume this could never happen, its a small price for
		// increased safety

		htim1.Instance->CCR1 = pendingPWM;
		if(!htim1.Instance->CCR1)
			htim1.Instance->CCR1 = 1;	//鏋佸皬鍗犵┖姣斾互缁存寔绉诲姩鐢垫簮渚涚數涓嶄紤鐪狅紝鍜孒AL_TIM_PluseFinishedCallback鍑芥�???????????????
		if (htim1.Instance->CCR1 && PWMSafetyTimer) {
			HAL_TIM_PWM_Start(&htim2, TIM_CHANNEL_4);
		} else {
			HAL_TIM_PWM_Stop(&htim2, TIM_CHANNEL_4);
		}
	}
  /* USER CODE END Callback 0 */
  if (htim->Instance == TIM4) {
    HAL_IncTick();
  }
}

void Error_Handler(void)
{
}

/************************ (C) COPYRIGHT STMicroelectronics *****END OF FILE****/

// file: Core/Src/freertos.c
/* USER CODE BEGIN Header */
/**
  ******************************************************************************
  * File Name          : freertos.c
  * Description        : Code for freertos applications
  ******************************************************************************
  * @attention
  *
  * <h2><center>&copy; Copyright (c) 2021 STMicroelectronics.
  * All rights reserved.</center></h2>
  *
  * This software component is licensed by ST under Ultimate Liberty license
  * SLA0044, the "License"; You may not use this file except in compliance with
  * the License. You may obtain a copy of the License at:
  *                             www.st.com/SLA0044
  *
  ******************************************************************************
  */
/* USER CODE END Header */

#include "FreeRTOS.h"
#include "task.h"
#include "main.h"

/* GetIdleTaskMemory prototype (linked to static allocation support) */
void vApplicationGetIdleTaskMemory( StaticTask_t **ppxIdleTaskTCBBuffer, StackType_t **ppxIdleTaskStackBuffer, uint32_t *pulIdleTaskStackSize );

/* Hook prototypes */
void vApplicationStackOverflowHook(xTaskHandle xTask, signed char *pcTaskName);

/* USER CODE BEGIN 4 */
__weak void vApplicationStackOverflowHook(xTaskHandle xTask, signed char *pcTaskName)
{
   /* Run time stack overflow checking is performed if
   configCHECK_FOR_STACK_OVERFLOW is defined to 1 or 2. This hook function is
   called if a stack overflow is detected. */
}
/* USER CODE END 4 */

/* USER CODE BEGIN GET_IDLE_TASK_MEMORY */
static StaticTask_t xIdleTaskTCBBuffer;
static StackType_t xIdleStack[configMINIMAL_STACK_SIZE];

void vApplicationGetIdleTaskMemory( StaticTask_t **ppxIdleTaskTCBBuffer, StackType_t **ppxIdleTaskStackBuffer, uint32_t *pulIdleTaskStackSize )
{
  *ppxIdleTaskTCBBuffer = &xIdleTaskTCBBuffer;
  *ppxIdleTaskStackBuffer = &xIdleStack[0];
  *pulIdleTaskStackSize = configMINIMAL_STACK_SIZE;
  /* place for user code */
}
/* USER CODE END GET_IDLE_TASK_MEMORY */

/************************ (C) COPYRIGHT STMicroelectronics *****END OF FILE****/
